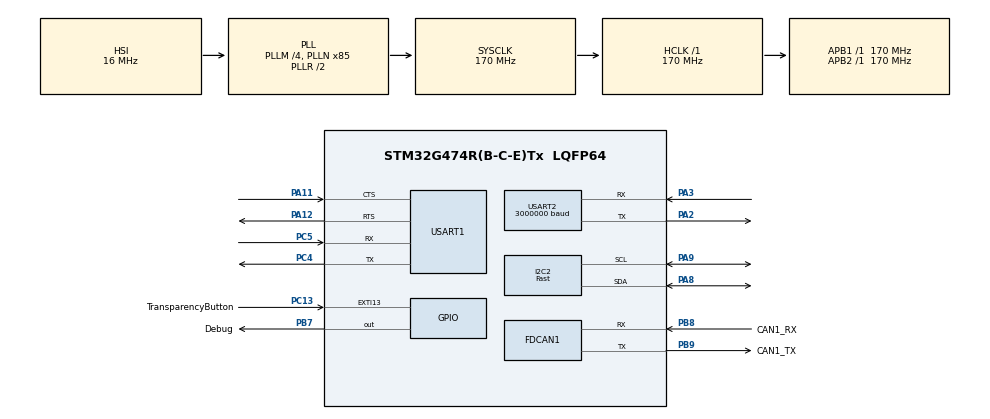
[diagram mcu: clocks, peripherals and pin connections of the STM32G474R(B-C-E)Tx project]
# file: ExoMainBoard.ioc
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Dma.I2C2_RX.1.Direction=DMA_PERIPH_TO_MEMORY
Dma.I2C2_RX.1.EventEnable=DISABLE
Dma.I2C2_RX.1.Instance=DMA1_Channel2
Dma.I2C2_RX.1.MemDataAlignment=DMA_MDATAALIGN_BYTE
Dma.I2C2_RX.1.MemInc=DMA_MINC_ENABLE
Dma.I2C2_RX.1.Mode=DMA_NORMAL
Dma.I2C2_RX.1.PeriphDataAlignment=DMA_PDATAALIGN_BYTE
Dma.I2C2_RX.1.PeriphInc=DMA_PINC_DISABLE
Dma.I2C2_RX.1.Polarity=HAL_DMAMUX_REQ_GEN_RISING
Dma.I2C2_RX.1.Priority=DMA_PRIORITY_LOW
Dma.I2C2_RX.1.RequestNumber=1
Dma.I2C2_RX.1.SignalID=NONE
Dma.I2C2_RX.1.SyncEnable=DISABLE
Dma.I2C2_RX.1.SyncPolarity=HAL_DMAMUX_SYNC_NO_EVENT
Dma.I2C2_RX.1.SyncRequestNumber=1
Dma.I2C2_RX.1.SyncSignalID=NONE
Dma.I2C2_TX.2.Direction=DMA_MEMORY_TO_PERIPH
Dma.I2C2_TX.2.EventEnable=DISABLE
Dma.I2C2_TX.2.Instance=DMA1_Channel3
Dma.I2C2_TX.2.MemDataAlignment=DMA_MDATAALIGN_BYTE
Dma.I2C2_TX.2.MemInc=DMA_MINC_ENABLE
Dma.I2C2_TX.2.Mode=DMA_NORMAL
Dma.I2C2_TX.2.PeriphDataAlignment=DMA_PDATAALIGN_BYTE
Dma.I2C2_TX.2.PeriphInc=DMA_PINC_DISABLE
Dma.I2C2_TX.2.Polarity=HAL_DMAMUX_REQ_GEN_RISING
Dma.I2C2_TX.2.Priority=DMA_PRIORITY_LOW
Dma.I2C2_TX.2.RequestNumber=1
Dma.I2C2_TX.2.SignalID=NONE
Dma.I2C2_TX.2.SyncEnable=DISABLE
Dma.I2C2_TX.2.SyncPolarity=HAL_DMAMUX_SYNC_NO_EVENT
Dma.I2C2_TX.2.SyncRequestNumber=1
Dma.I2C2_TX.2.SyncSignalID=NONE
Dma.Request0=USART1_RX
Dma.Request1=I2C2_RX
Dma.Request2=I2C2_TX
Dma.Request3=USART1_TX
Dma.Request4=USART2_RX
Dma.Request5=USART2_TX
Dma.USART1_RX.0.Direction=DMA_PERIPH_TO_MEMORY
Dma.USART1_RX.0.EventEnable=DISABLE
Dma.USART1_RX.0.Instance=DMA1_Channel1
Dma.USART1_RX.0.MemDataAlignment=DMA_MDATAALIGN_BYTE
Dma.USART1_RX.0.MemInc=DMA_MINC_ENABLE
Dma.USART1_RX.0.Mode=DMA_CIRCULAR
Dma.USART1_RX.0.PeriphDataAlignment=DMA_PDATAALIGN_BYTE
Dma.USART1_RX.0.PeriphInc=DMA_PINC_DISABLE
Dma.USART1_RX.0.Polarity=HAL_DMAMUX_REQ_GEN_RISING
Dma.USART1_RX.0.Priority=DMA_PRIORITY_LOW
Dma.USART1_RX.0.RequestNumber=1
Dma.USART1_RX.0.SignalID=NONE
Dma.USART1_RX.0.SyncEnable=DISABLE
Dma.USART1_RX.0.SyncPolarity=HAL_DMAMUX_SYNC_NO_EVENT
Dma.USART1_RX.0.SyncRequestNumber=1
Dma.USART1_RX.0.SyncSignalID=NONE
Dma.USART1_TX.3.Direction=DMA_MEMORY_TO_PERIPH
Dma.USART1_TX.3.EventEnable=DISABLE
Dma.USART1_TX.3.Instance=DMA1_Channel4
Dma.USART1_TX.3.MemDataAlignment=DMA_MDATAALIGN_BYTE
Dma.USART1_TX.3.MemInc=DMA_MINC_ENABLE
Dma.USART1_TX.3.Mode=DMA_NORMAL
Dma.USART1_TX.3.PeriphDataAlignment=DMA_PDATAALIGN_BYTE
Dma.USART1_TX.3.PeriphInc=DMA_PINC_DISABLE
Dma.USART1_TX.3.Polarity=HAL_DMAMUX_REQ_GEN_RISING
Dma.USART1_TX.3.Priority=DMA_PRIORITY_LOW
Dma.USART1_TX.3.RequestNumber=1
Dma.USART1_TX.3.SignalID=NONE
Dma.USART1_TX.3.SyncEnable=DISABLE
Dma.USART1_TX.3.SyncPolarity=HAL_DMAMUX_SYNC_NO_EVENT
Dma.USART1_TX.3.SyncRequestNumber=1
Dma.USART1_TX.3.SyncSignalID=NONE
Dma.USART2_RX.4.Direction=DMA_PERIPH_TO_MEMORY
Dma.USART2_RX.4.EventEnable=DISABLE
Dma.USART2_RX.4.Instance=DMA1_Channel5
Dma.USART2_RX.4.MemDataAlignment=DMA_MDATAALIGN_BYTE
Dma.USART2_RX.4.MemInc=DMA_MINC_ENABLE
Dma.USART2_RX.4.Mode=DMA_CIRCULAR
Dma.USART2_RX.4.PeriphDataAlignment=DMA_PDATAALIGN_BYTE
Dma.USART2_RX.4.PeriphInc=DMA_PINC_DISABLE
Dma.USART2_RX.4.Polarity=HAL_DMAMUX_REQ_GEN_RISING
Dma.USART2_RX.4.Priority=DMA_PRIORITY_LOW
Dma.USART2_RX.4.RequestNumber=1
Dma.USART2_RX.4.SignalID=NONE
Dma.USART2_RX.4.SyncEnable=DISABLE
Dma.USART2_RX.4.SyncPolarity=HAL_DMAMUX_SYNC_NO_EVENT
Dma.USART2_RX.4.SyncRequestNumber=1
Dma.USART2_RX.4.SyncSignalID=NONE
Dma.USART2_TX.5.Direction=DMA_MEMORY_TO_PERIPH
Dma.USART2_TX.5.EventEnable=DISABLE
Dma.USART2_TX.5.Instance=DMA1_Channel6
Dma.USART2_TX.5.MemDataAlignment=DMA_MDATAALIGN_BYTE
Dma.USART2_TX.5.MemInc=DMA_MINC_ENABLE
Dma.USART2_TX.5.Mode=DMA_NORMAL
Dma.USART2_TX.5.PeriphDataAlignment=DMA_PDATAALIGN_BYTE
Dma.USART2_TX.5.PeriphInc=DMA_PINC_DISABLE
Dma.USART2_TX.5.Polarity=HAL_DMAMUX_REQ_GEN_RISING
Dma.USART2_TX.5.Priority=DMA_PRIORITY_LOW
Dma.USART2_TX.5.RequestNumber=1
Dma.USART2_TX.5.SignalID=NONE
Dma.USART2_TX.5.SyncEnable=DISABLE
Dma.USART2_TX.5.SyncPolarity=HAL_DMAMUX_SYNC_NO_EVENT
Dma.USART2_TX.5.SyncRequestNumber=1
Dma.USART2_TX.5.SyncSignalID=NONE
FDCAN1.AutoRetransmission=ENABLE
FDCAN1.CalculateBaudRateNominal=999999
FDCAN1.CalculateTimeBitNominal=1000
FDCAN1.CalculateTimeQuantumNominal=58.82352941176471
FDCAN1.Mode=FDCAN_MODE_NORMAL
FDCAN1.NominalPrescaler=10
FDCAN1.NominalTimeSeg1=13
FDCAN1.NominalTimeSeg2=3
FDCAN1.ProtocolException=DISABLE
FDCAN1.StdFiltersNbr=1
I2C2.I2C_Speed_Mode=I2C_Fast
I2C2.OwnAddress=1
I2C2.Timing=0x40621236
Mcu.Family=STM32G4
Mcu.Name=STM32G474R(B-C-E)Tx
Mcu.Package=LQFP64
NVIC.DMA1_Channel1_IRQn=true\:0\:0\:false\:false\:true\:false\:true\:true
NVIC.DMA1_Channel2_IRQn=true\:0\:0\:false\:false\:true\:false\:true\:true
NVIC.DMA1_Channel3_IRQn=true\:0\:0\:false\:false\:true\:false\:true\:true
NVIC.DMA1_Channel4_IRQn=true\:0\:0\:false\:false\:true\:false\:true\:true
NVIC.DMA1_Channel5_IRQn=true\:0\:0\:false\:false\:true\:false\:true\:true
NVIC.DMA1_Channel6_IRQn=true\:0\:0\:false\:false\:true\:false\:true\:true
NVIC.EXTI15_10_IRQn=true\:0\:0\:false\:false\:true\:true\:true\:true
NVIC.FDCAN1_IT0_IRQn=true\:0\:0\:false\:false\:true\:true\:true\:true
NVIC.FDCAN1_IT1_IRQn=true\:0\:0\:false\:false\:true\:true\:true\:true
NVIC.I2C2_ER_IRQn=true\:0\:0\:false\:false\:true\:true\:true\:true
NVIC.I2C2_EV_IRQn=true\:0\:0\:false\:false\:true\:true\:true\:true
NVIC.PriorityGroup=NVIC_PRIORITYGROUP_4
NVIC.TIM4_IRQn=true\:0\:0\:false\:false\:true\:true\:true\:true
NVIC.TIM6_DAC_IRQn=true\:0\:0\:false\:false\:true\:true\:true\:true
NVIC.TIM7_DAC_IRQn=true\:0\:0\:false\:false\:true\:true\:true\:true
NVIC.USART1_IRQn=true\:0\:0\:false\:false\:true\:true\:true\:true
NVIC.USART2_IRQn=true\:0\:0\:false\:false\:true\:true\:true\:true
PA11.Mode=CTS_RTS
PA11.Signal=USART1_CTS
PA12.Mode=CTS_RTS
PA12.Signal=USART1_RTS
PA13.GPIO_Label=T_SWDIO
PA13.Signal=SYS_JTMS-SWDIO
PA14.GPIO_Label=T_SWCLK
PA14.Signal=SYS_JTCK-SWCLK
PA2.Mode=Asynchronous
PA2.Signal=USART2_TX
PA3.Mode=Asynchronous
PA3.Signal=USART2_RX
PA8.Mode=I2C
PA8.Signal=I2C2_SDA
PA9.Mode=I2C
PA9.Signal=I2C2_SCL
PB3.GPIO_Label=T_SWO
PB3.Signal=SYS_JTDO-SWO
PB7.GPIO_Label=Debug
PB7.Signal=GPIO_Output
PB8-BOOT0.GPIO_Label=CAN1_RX
PB8-BOOT0.Mode=FDCAN_Activate
PB8-BOOT0.Signal=FDCAN1_RX
PB9.GPIO_Label=CAN1_TX
PB9.Mode=FDCAN_Activate
PB9.Signal=FDCAN1_TX
PC13.GPIO_Label=TransparencyButton
PC13.GPIO_PuPd=GPIO_PULLDOWN
PC13.Signal=GPXTI13
PC14-OSC32_IN.GPIO_Label=RCC_OSC32_IN
PC14-OSC32_IN.Signal=RCC_OSC32_IN
PC15-OSC32_OUT.GPIO_Label=RCC_OSC32_OUT
PC15-OSC32_OUT.Signal=RCC_OSC32_OUT
PC4.Mode=Asynchronous
PC4.Signal=USART1_TX
PC5.Mode=Asynchronous
PC5.Signal=USART1_RX
PF0-OSC_IN.GPIO_Label=RCC_OSC_IN
PF0-OSC_IN.Signal=RCC_OSC_IN
PF1-OSC_OUT.GPIO_Label=RCC_OSC_OUT
PF1-OSC_OUT.Signal=RCC_OSC_OUT
ProjectManager.HeapSize=0x200
ProjectManager.StackSize=0x400
ProjectManager.TargetToolchain=STM32CubeIDE
RCC.ADC12Freq_Value=170000000
RCC.ADC345Freq_Value=170000000
RCC.AHBFreq_Value=170000000
RCC.APB1Freq_Value=170000000
RCC.APB1TimFreq_Value=170000000
RCC.APB2Freq_Value=170000000
RCC.APB2TimFreq_Value=170000000
RCC.CortexFreq_Value=170000000
RCC.EXTERNAL_CLOCK_VALUE=12288000
RCC.HCLKFreq_Value=170000000
RCC.HSE_VALUE=24000000
RCC.HSI48_VALUE=48000000
RCC.HSI_VALUE=16000000
RCC.LSE_VALUE=32768
RCC.PLLM=RCC_PLLM_DIV4
RCC.PLLN=85
RCC.RTCClockSelection=RCC_RTCCLKSOURCE_LSE
RCC.SYSCLKFreq_VALUE=170000000
RCC.SYSCLKSource=RCC_SYSCLKSOURCE_PLLCLK
RCC.USBFreq_Value=170000000
RCC.VCOOutputFreq_Value=340000000
TIM4.PeriodNoDither=332
TIM4.Prescaler=169
TIM6.PeriodNoDither=3
TIM6.Prescaler=16999
TIM7.PeriodNoDither=332
TIM7.Prescaler=169
USART1.VirtualMode-Asynchronous=VM_ASYNC
USART2.BaudRate=3000000
USART2.VirtualMode-Asynchronous=VM_ASYNC
VP_SYS_VS_DBSignals.Mode=DisableDeadBatterySignals
VP_TIM4_VS_ClockSourceINT.Mode=Internal
VP_TIM6_VS_ClockSourceINT.Mode=Enable_Timer
VP_TIM7_VS_ClockSourceINT.Mode=Enable_Timer
board=NUCLEO-G474RE

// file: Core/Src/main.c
/* USER CODE BEGIN Header */
/**
  ******************************************************************************
  * @file           : main.c
  * @brief          : Main program body
  ******************************************************************************
  * @attention
  *
  * Copyright (c) 2025 STMicroelectronics.
  * All rights reserved.
  *
  * This software is licensed under terms that can be found in the LICENSE file
  * in the root directory of this software component.
  * If no LICENSE file comes with this software, it is provided AS-IS.
  *
  ******************************************************************************
  */
/* USER CODE END Header */
#include "main.h"
#include "dma.h"
#include "fdcan.h"
#include "i2c.h"
#include "tim.h"
#include "usart.h"
#include "gpio.h"

/* USER CODE BEGIN Includes */
#include <string.h>
#include <stdlib.h>
#include <stdint.h>
#include <stdbool.h>
#include <math.h>
#include <stdio.h>

#include "structs.h"
#include "data_tx_arrays.h"
#include "crc.h"
#include "test_signals.h"
#include "fsm.h"

/* USER CODE END Includes */

/* USER CODE BEGIN PV */

// Define interrupt flags

// Define Bluetooth buffer structures
rdg_buf_struct* bt_dma_reader = NULL; // Pointers, as these have dynamic memory allocations.
uint8_t bt_rx_dma_buffer[BT_RX_DMA_SIZE]; // (Written to by DMA)

// Define USART2 (Direct to host) buffer structures
rdg_buf_struct* usart2_dma_reader = NULL;
uint8_t usart2_dma_buffer[USART2_RX_DMA_SIZE];

// Define Transmission Packets to the host (Spinetopia)
TxPacket* data_tx_packet = NULL;

// Motor CAN Structs
// Motor 1 (Proximal Joint)
CANTxMessage m1_tx;
// Motor 2 (Distal Joint)
CANTxMessage m2_tx;
// Once receiver for all messages.
CANRxMessage m_rx;

// Command Structs
MotorCommand m1_cmd;
MotorCommand m2_cmd;
MotorTrajectory m1_traj;
MotorTrajectory m2_traj;
VibroCommand vibro_cmd;

// Finite state machine
FSMStruct state;

/* USER CODE END PV */

void SystemClock_Config(void);
/* USER CODE BEGIN PFP */
void run_motor_loop(void);
void run_com_loop(void);
/* USER CODE END PFP */

int main(void)
{

  /* USER CODE BEGIN 1 */
	// Initialize the buffers with a given size
	bt_dma_reader = rdg_buf_init(BT_RX_DMA_SIZE);
	usart2_dma_reader = rdg_buf_init(USART2_RX_DMA_SIZE);

  /* USER CODE END 1 */

  /* MCU Configuration--------------------------------------------------------*/

  /* Reset of all peripherals, Initializes the Flash interface and the Systick. */
  HAL_Init();

  /* Configure the system clock */
  SystemClock_Config();

  /* Initialize all configured peripherals */
  MX_GPIO_Init();
  MX_DMA_Init();
  MX_USART1_UART_Init();
  MX_USART2_UART_Init();
  MX_FDCAN1_Init();
  MX_I2C2_Init();
  MX_TIM6_Init();
  MX_TIM7_Init();
  MX_TIM4_Init();
  /* USER CODE BEGIN 2 */

  // --- Enable Receiver Timeout (RTO) on USART1 (This is for the Silicon Labs BT Module ---
  // Choose a timeout value in bit-times / baud clocks.
  // For a start, pick something like "20 char times".
  // Exact scaling depends on the reference manual, but this shape is right:
  if (UART_PORT == 1)
  {
	  huart1.Instance->RTOR = 200;                 // timeout value (tune later)
	  SET_BIT(huart1.Instance->CR2, USART_CR2_RTOEN);   // enable RTO
	  SET_BIT(huart1.Instance->CR1, USART_CR1_RTOIE);   // enable RTO interrupt
	  // Start the UART of the BT RX line
	  HAL_UARTEx_ReceiveToIdle_DMA(&huart1, bt_rx_dma_buffer, BT_RX_DMA_SIZE);
	  // Turn OFF DMA half-transfer + transfer-complete interrupts
	  __HAL_DMA_DISABLE_IT(huart1.hdmarx, DMA_IT_HT);
	  __HAL_DMA_DISABLE_IT(huart1.hdmarx, DMA_IT_TC);
	  // Try receiver timeout interrupt on huart1
	  __HAL_UART_ENABLE_IT(&huart1, UART_IT_RTO);
  }

  // --- Enable Receiver Timeout (RTO) on USART2 (This is for direct communication w/ the host PC for greater bandwidth) ---
  // Choose a timeout value in bit-times / baud clocks.
  // For a start, pick something like "20 char times".
  // Exact scaling depends on the reference manual, but this shape is right:
  if (UART_PORT == 2)
  {
	  huart2.Instance->RTOR = 200;                 // timeout value (tune later)
	  SET_BIT(huart2.Instance->CR2, USART_CR2_RTOEN);   // enable RTO
	  SET_BIT(huart2.Instance->CR1, USART_CR1_RTOIE);   // enable RTO interrupt
	  HAL_UARTEx_ReceiveToIdle_DMA(&huart2, usart2_dma_buffer, USART2_RX_DMA_SIZE);
	  // Turn OFF DMA half-transfer + transfer-complete interrupts
	  __HAL_DMA_DISABLE_IT(huart2.hdmarx, DMA_IT_HT);
	  __HAL_DMA_DISABLE_IT(huart2.hdmarx, DMA_IT_TC);
	  // Try receiver timeout interrupt on huart1
	  __HAL_UART_ENABLE_IT(&huart2, UART_IT_RTO);
  }

  // Allocate the transmission packet and it's history before CAN can deliver samples.
    if (!data_tx_arrays_init())
    {
        Error_Handler();
    }

  // Initialize CAN communication structures
  // Motor 1
  can_tx_init(&m1_tx, 1);
  // Motor 2
  can_tx_init(&m2_tx, 2);
  // One receiver for all messages
  can_rx_init(&m_rx);

  // Start the CAN bus
  HAL_FDCAN_Start(&hfdcan1);

  // Activate notifications
  HAL_FDCAN_ActivateNotification(
      &hfdcan1,
      FDCAN_IT_RX_FIFO0_NEW_MESSAGE,
      0
  );

  // Initialize the Command structures
  motor_cmd_init(&m1_cmd, 1);
  motor_cmd_init(&m2_cmd, 2);
  motor_trajectory_init(&m1_traj, 1);
  motor_trajectory_init(&m2_traj, 2);
  vibro_cmd_init(&vibro_cmd);

  // Lastly, turn on our event loops and set our sampling rate
  if (!set_sampling_rate(DATA_TX_SENDING_RATE))
  {
	  Error_Handler();
  }
  ;
  HAL_TIM_Base_Start_IT(&htim6); // Transmission loop
  HAL_TIM_Base_Start_IT(&htim7); // Motor Command loop

  /* USER CODE END 2 */

  /* Infinite loop */
  /* USER CODE BEGIN WHILE */
  while (1)
  {
	  // Run the main loop, which is performed within the finite state machine
	  run_fsm(&state);
    /* USER CODE END WHILE */

  }
}

void SystemClock_Config(void)
{
  RCC_OscInitTypeDef RCC_OscInitStruct = {0};
  RCC_ClkInitTypeDef RCC_ClkInitStruct = {0};

  /** Configure the main internal regulator output voltage
  */
  HAL_PWREx_ControlVoltageScaling(PWR_REGULATOR_VOLTAGE_SCALE1_BOOST);

  /** Initializes the RCC Oscillators according to the specified parameters
  * in the RCC_OscInitTypeDef structure.
  */
  RCC_OscInitStruct.OscillatorType = RCC_OSCILLATORTYPE_HSI;
  RCC_OscInitStruct.HSIState = RCC_HSI_ON;
  RCC_OscInitStruct.HSICalibrationValue = RCC_HSICALIBRATION_DEFAULT;
  RCC_OscInitStruct.PLL.PLLState = RCC_PLL_ON;
  RCC_OscInitStruct.PLL.PLLSource = RCC_PLLSOURCE_HSI;
  RCC_OscInitStruct.PLL.PLLM = RCC_PLLM_DIV4;
  RCC_OscInitStruct.PLL.PLLN = 85;
  RCC_OscInitStruct.PLL.PLLP = RCC_PLLP_DIV2;
  RCC_OscInitStruct.PLL.PLLQ = RCC_PLLQ_DIV2;
  RCC_OscInitStruct.PLL.PLLR = RCC_PLLR_DIV2;
  if (HAL_RCC_OscConfig(&RCC_OscInitStruct) != HAL_OK)
  {
    Error_Handler();
  }

  /** Initializes the CPU, AHB and APB buses clocks
  */
  RCC_ClkInitStruct.ClockType = RCC_CLOCKTYPE_HCLK|RCC_CLOCKTYPE_SYSCLK
                              |RCC_CLOCKTYPE_PCLK1|RCC_CLOCKTYPE_PCLK2;
  RCC_ClkInitStruct.SYSCLKSource = RCC_SYSCLKSOURCE_PLLCLK;
  RCC_ClkInitStruct.AHBCLKDivider = RCC_SYSCLK_DIV1;
  RCC_ClkInitStruct.APB1CLKDivider = RCC_HCLK_DIV1;
  RCC_ClkInitStruct.APB2CLKDivider = RCC_HCLK_DIV1;

  if (HAL_RCC_ClockConfig(&RCC_ClkInitStruct, FLASH_LATENCY_4) != HAL_OK)
  {
    Error_Handler();
  }
}

/* USER CODE BEGIN 4 */

// Interrupt handler for the bt_rx_dma_buffer
void HAL_UARTEx_RxEventCallback(UART_HandleTypeDef *huart, uint16_t size)
{
    if (huart->Instance == USART1) {
        // Drop a flag to print that data
//    	got_bt_msg = true;
//    	bt_msg_size = size;
        }

}

/* USER CODE END 4 */

void Error_Handler(void)
{
  __disable_irq();
  while (1)
  {
  }
}
